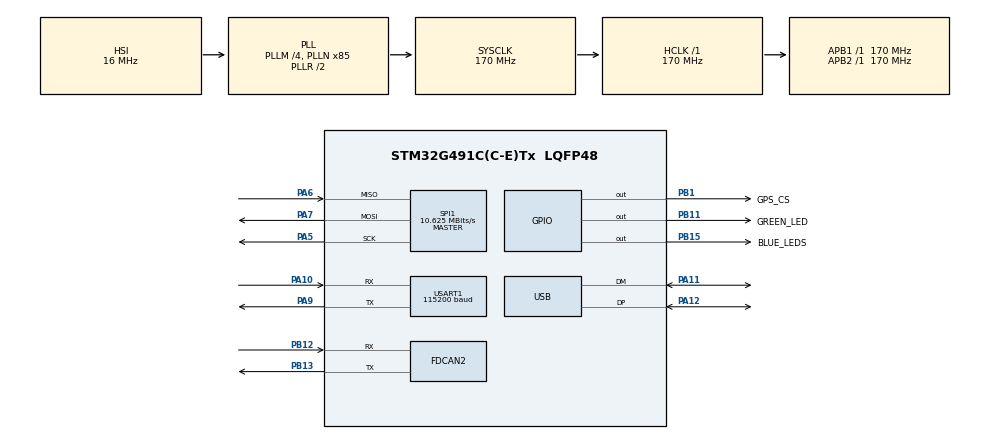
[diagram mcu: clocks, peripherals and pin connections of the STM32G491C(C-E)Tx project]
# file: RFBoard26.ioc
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Dma.Request0=USART1_RX
Dma.Request1=USART1_TX
Dma.USART1_RX.0.Direction=DMA_PERIPH_TO_MEMORY
Dma.USART1_RX.0.EventEnable=DISABLE
Dma.USART1_RX.0.Instance=DMA1_Channel1
Dma.USART1_RX.0.MemDataAlignment=DMA_MDATAALIGN_BYTE
Dma.USART1_RX.0.MemInc=DMA_MINC_ENABLE
Dma.USART1_RX.0.Mode=DMA_CIRCULAR
Dma.USART1_RX.0.PeriphDataAlignment=DMA_PDATAALIGN_BYTE
Dma.USART1_RX.0.PeriphInc=DMA_PINC_DISABLE
Dma.USART1_RX.0.Polarity=HAL_DMAMUX_REQ_GEN_RISING
Dma.USART1_RX.0.Priority=DMA_PRIORITY_HIGH
Dma.USART1_RX.0.RequestNumber=1
Dma.USART1_RX.0.SignalID=NONE
Dma.USART1_RX.0.SyncEnable=DISABLE
Dma.USART1_RX.0.SyncPolarity=HAL_DMAMUX_SYNC_NO_EVENT
Dma.USART1_RX.0.SyncRequestNumber=1
Dma.USART1_RX.0.SyncSignalID=NONE
Dma.USART1_TX.1.Direction=DMA_MEMORY_TO_PERIPH
Dma.USART1_TX.1.EventEnable=DISABLE
Dma.USART1_TX.1.Instance=DMA1_Channel2
Dma.USART1_TX.1.MemDataAlignment=DMA_MDATAALIGN_BYTE
Dma.USART1_TX.1.MemInc=DMA_MINC_ENABLE
Dma.USART1_TX.1.Mode=DMA_NORMAL
Dma.USART1_TX.1.PeriphDataAlignment=DMA_PDATAALIGN_BYTE
Dma.USART1_TX.1.PeriphInc=DMA_PINC_DISABLE
Dma.USART1_TX.1.Polarity=HAL_DMAMUX_REQ_GEN_RISING
Dma.USART1_TX.1.Priority=DMA_PRIORITY_HIGH
Dma.USART1_TX.1.RequestNumber=1
Dma.USART1_TX.1.SignalID=NONE
Dma.USART1_TX.1.SyncEnable=DISABLE
Dma.USART1_TX.1.SyncPolarity=HAL_DMAMUX_SYNC_NO_EVENT
Dma.USART1_TX.1.SyncRequestNumber=1
Dma.USART1_TX.1.SyncSignalID=NONE
FDCAN2.CalculateBaudRateNominal=999999
FDCAN2.CalculateTimeBitNominal=1000
FDCAN2.CalculateTimeQuantumNominal=58.82352941176471
FDCAN2.FrameFormat=FDCAN_FRAME_FD_NO_BRS
FDCAN2.AutoRetransmission=ENABLE
FDCAN2.NominalPrescaler=10
FDCAN2.NominalTimeSeg1=13
FDCAN2.NominalTimeSeg2=3
Mcu.Family=STM32G4
Mcu.Name=STM32G491C(C-E)Tx
Mcu.Package=LQFP48
NVIC.DMA1_Channel1_IRQn=true\:7\:0\:true\:false\:true\:false\:true\:true\:true
NVIC.DMA1_Channel2_IRQn=true\:7\:0\:true\:false\:true\:false\:true\:true\:true
NVIC.FDCAN2_IT0_IRQn=true\:6\:0\:true\:false\:true\:false\:true\:true\:true
NVIC.FDCAN2_IT1_IRQn=true\:6\:0\:true\:false\:true\:false\:true\:true\:true
NVIC.PriorityGroup=NVIC_PRIORITYGROUP_4
NVIC.TIM6_DAC_IRQn=true\:15\:0\:false\:false\:true\:false\:false\:true\:true
NVIC.TimeBase=TIM6_DAC_IRQn
NVIC.TimeBaseIP=TIM6
NVIC.USART1_IRQn=true\:7\:0\:true\:false\:true\:false\:true\:true\:true
NVIC.USB_LP_IRQn=true\:5\:0\:true\:false\:true\:false\:true\:true\:true
PA10.Mode=Asynchronous
PA10.Signal=USART1_RX
PA11.Mode=Device
PA11.Signal=USB_DM
PA12.Mode=Device
PA12.Signal=USB_DP
PA5.Mode=Full_Duplex_Master
PA5.Signal=SPI1_SCK
PA6.Mode=Full_Duplex_Master
PA6.Signal=SPI1_MISO
PA7.Mode=Full_Duplex_Master
PA7.Signal=SPI1_MOSI
PA9.Mode=Asynchronous
PA9.Signal=USART1_TX
PB1.GPIO_Label=GPS_CS
PB1.GPIO_PuPd=GPIO_PULLDOWN
PB1.Signal=GPIO_Output
PB11.GPIO_Label=GREEN_LED
PB11.Signal=GPIO_Output
PB12.Mode=FDCAN_Activate
PB12.Signal=FDCAN2_RX
PB13.Mode=FDCAN_Activate
PB13.Signal=FDCAN2_TX
PB15.GPIO_Label=BLUE_LEDS
PB15.Signal=GPIO_Output
PC14-OSC32_IN.Mode=LSE-External-Oscillator
PC14-OSC32_IN.Signal=RCC_OSC32_IN
PC15-OSC32_OUT.Mode=LSE-External-Oscillator
PC15-OSC32_OUT.Signal=RCC_OSC32_OUT
PF0-OSC_IN.Mode=HSE-External-Oscillator
PF0-OSC_IN.Signal=RCC_OSC_IN
PF1-OSC_OUT.Mode=HSE-External-Oscillator
PF1-OSC_OUT.Signal=RCC_OSC_OUT
ProjectManager.HeapSize=0x200
ProjectManager.StackSize=0x400
ProjectManager.TargetToolchain=CMake
RCC.ADC12Freq_Value=170000000
RCC.ADC345Freq_Value=170000000
RCC.AHBFreq_Value=170000000
RCC.APB1Freq_Value=170000000
RCC.APB1TimFreq_Value=170000000
RCC.APB2Freq_Value=170000000
RCC.APB2TimFreq_Value=170000000
RCC.CortexFreq_Value=170000000
RCC.EXTERNAL_CLOCK_VALUE=12288000
RCC.HCLKFreq_Value=170000000
RCC.HSE_VALUE=8000000
RCC.HSI48_VALUE=48000000
RCC.HSI_VALUE=16000000
RCC.PLLM=RCC_PLLM_DIV4
RCC.PLLN=85
RCC.SYSCLKFreq_VALUE=170000000
RCC.SYSCLKSource=RCC_SYSCLKSOURCE_PLLCLK
RCC.VCOOutputFreq_Value=340000000
SPI1.BaudRatePrescaler=SPI_BAUDRATEPRESCALER_16
SPI1.CalculateBaudRate=10.625 MBits/s
SPI1.DataSize=SPI_DATASIZE_8BIT
SPI1.Direction=SPI_DIRECTION_2LINES
SPI1.Mode=SPI_MODE_MASTER
SPI1.VirtualType=VM_MASTER
STMicroelectronics.X-CUBE-AZRTOS-G4.2.0.0.REG_USBX_DEVICE_CON_CK=1
STMicroelectronics.X-CUBE-AZRTOS-G4.2.0.0.TX_APP_GENERATE_INIT_CODE=true
STMicroelectronics.X-CUBE-AZRTOS-G4.2.0.0.TX_APP_MEM_POOL_SIZE=65240
STMicroelectronics.X-CUBE-AZRTOS-G4.2.0.0.TX_TIMER_TICKS_PER_SECOND=1000
STMicroelectronics.X-CUBE-AZRTOS-G4.2.0.0.ThreadXCcRTOSJjThreadXJjCore=true
STMicroelectronics.X-CUBE-AZRTOS-G4.2.0.0.ThreadXCcRTOSJjThreadXJjPerformanceInfo=true
STMicroelectronics.X-CUBE-AZRTOS-G4.2.0.0.ThreadXCcRTOSJjThreadXJjTraceXOosupport=true
STMicroelectronics.X-CUBE-AZRTOS-G4.2.0.0.USBD_CDCACM_EPINCMD_ADDR=2
STMicroelectronics.X-CUBE-AZRTOS-G4.2.0.0.USBD_MANUFACTURER_STRING=UBSEDS
STMicroelectronics.X-CUBE-AZRTOS-G4.2.0.0.USBD_PRODUCT_STRING=CHUD RF Board
STMicroelectronics.X-CUBE-AZRTOS-G4.2.0.0.USBD_SERIAL_NUMBER=67
STMicroelectronics.X-CUBE-AZRTOS-G4.2.0.0.USBXCcUSBJjUSBXJjCoreSystem=true
STMicroelectronics.X-CUBE-AZRTOS-G4.2.0.0.USBXCcUSBJjUSBXJjUXOoDeviceOoClassOoCDCOoACM=true
STMicroelectronics.X-CUBE-AZRTOS-G4.2.0.0.USBXCcUSBJjUSBXJjUXOoDeviceOoControllers=true
STMicroelectronics.X-CUBE-AZRTOS-G4.2.0.0.USBXCcUSBJjUSBXJjUXOoDeviceOoCoreStack=true
STMicroelectronics.X-CUBE-AZRTOS-G4.2.0.0.USBX_DEVICE_APP_THREAD_Size=2048
STMicroelectronics.X-CUBE-AZRTOS-G4.2.0.0.USBX_DEVICE_SYS_SIZE=8192
STMicroelectronics.X-CUBE-AZRTOS-G4.2.0.0.UX_DEVICE_APP_MEM_POOL_SIZE=10752
STMicroelectronics.X-CUBE-AZRTOS-G4.2.0.0.UX_MAX_SLAVE_CLASS_DRIVER=1
STMicroelectronics.X-CUBE-AZRTOS-G4.2.0.0.UX_SLAVE_REQUEST_DATA_MAX_LENGTH=512
STMicroelectronics.X-CUBE-AZRTOS-G4.2.0.0.UX_THREAD_STACK_SIZE=2048
STMicroelectronics.X-CUBE-AZRTOS-G4.2.0.0_IsAnAzureRtosMw=true
USART1.BaudRate=115200
USART1.FIFOMode=FIFOMODE_ENABLE
USART1.VirtualMode-Asynchronous=VM_ASYNC
VP_STMicroelectronics.X-CUBE-AZRTOS-G4_VS_RTOSJjThreadX_6.2.0_2.0.0.Mode=RTOSJjThreadX
VP_STMicroelectronics.X-CUBE-AZRTOS-G4_VS_USBJjUSBX_6.2.0_2.0.0.Mode=USBJjUSBX
VP_SYS_VS_DBSignals.Mode=DisableDeadBatterySignals
VP_SYS_VS_tim6.Mode=TIM6
board=custom

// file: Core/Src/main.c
#include "board_commissioning.h"
#include "board_recovery_floor.h"
#include "persistent_store.h"
/* USER CODE BEGIN Header */
/**
 ******************************************************************************
 * @file           : main.c
 * @brief          : Main program body
 ******************************************************************************
 * @attention
 *
 * Copyright (c) 2025 STMicroelectronics.
 * All rights reserved.
 *
 * This software is licensed under terms that can be found in the LICENSE file
 * in the root directory of this software component.
 * If no LICENSE file comes with this software, it is provided AS-IS.
 *
 ******************************************************************************
 */
/* USER CODE END Header */
#include "app_threadx.h"
#include "main.h"
#include "board_watchdog.h"

/* USER CODE BEGIN Includes */
#include "stm32g4xx_hal_spi.h"
#if RF_USB_DEBUG_ENABLED
#include "ux_api.h"
#include "ux_system.h"
#include "ux_device_class_cdc_acm.h"
#endif
#include <stdint.h>
#include <stdio.h>
#include "telemetry.h"
#include "can_bus.h"
#include "radio.h"
#include "av_bay_underglow.h"
#include "flight_state_cache.h"
#include "board_recovery_boot.h"

#if RF_USB_DEBUG_ENABLED
extern UX_SLAVE_CLASS_CDC_ACM *cdc_acm;
#endif

#ifndef MIN
#define MIN(a, b) (((a) < (b)) ? (a) : (b))
#endif
/* USER CODE END Includes */

/* USER CODE BEGIN PTD */
static void busy_delay(volatile uint32_t n)
{
  while (n--) { __NOP(); }
}
/* USER CODE END PTD */

FDCAN_HandleTypeDef hfdcan2;

SPI_HandleTypeDef hspi1;

UART_HandleTypeDef huart1;
DMA_HandleTypeDef hdma_usart1_rx;
DMA_HandleTypeDef hdma_usart1_tx;

PCD_HandleTypeDef hpcd_USB_FS;

void SystemClock_Config(void);
static void MX_GPIO_Init(void);
static void MX_DMA_Init(void);
static void MX_FDCAN2_Init(void);
static void MX_USART1_UART_Init(void);
#if RF_USB_DEBUG_ENABLED
static void MX_USB_PCD_Init(void);
#endif
static void MX_SPI1_Init(void);

int main(void)
{

  /* MCU Configuration--------------------------------------------------------*/

  /* Reset of all peripherals, Initializes the Flash interface and the Systick. */
  HAL_Init();

  /* Configure the system clock */
  SystemClock_Config();

  /* Initialize all configured peripherals */
  MX_GPIO_Init();
  MX_DMA_Init();
  MX_FDCAN2_Init();
  MX_USART1_UART_Init();
#if RF_USB_DEBUG_ENABLED
  MX_USB_PCD_Init();
#endif
  MX_SPI1_Init();
  /* USER CODE BEGIN 2 */
  /* Start the radio RX transport; the telemetry thread owns CAN startup. */
  radio_uart_init(&huart1);
  radio_uart_start_rx();   /* after UART is initialized */

  /* Apply persistent local state before ThreadX and SEDSNet synchronization. */
  (void)persistent_store_boot_begin();
  av_bay_underglow_restore();
  /* Establish recovery identity before cached state restore and control tasks. */
  (void)board_recovery_boot_generation();
  (void)board_recovery_floor_prime_boot(); /* Cached failure stays queryable/inhibited. */
  board_commissioning_probe_boot();
  flight_state_cache_restore();

  /* USER CODE END 2 */

  board_watchdog_start();
  MX_ThreadX_Init();

  /* We should never get here as control is now taken by the scheduler */

  /* Infinite loop */
  while (1) {

  }
}

void SystemClock_Config(void)
{
  RCC_OscInitTypeDef RCC_OscInitStruct = {0};
  RCC_ClkInitTypeDef RCC_ClkInitStruct = {0};

  /** Configure the main internal regulator output voltage
  */
  HAL_PWREx_ControlVoltageScaling(PWR_REGULATOR_VOLTAGE_SCALE1_BOOST);

  /** Initializes the RCC Oscillators according to the specified parameters
  * in the RCC_OscInitTypeDef structure.
  */
  RCC_OscInitStruct.OscillatorType = RCC_OSCILLATORTYPE_HSI|RCC_OSCILLATORTYPE_HSI48;
  RCC_OscInitStruct.HSIState = RCC_HSI_ON;
  RCC_OscInitStruct.HSICalibrationValue = RCC_HSICALIBRATION_DEFAULT;
  RCC_OscInitStruct.HSI48State = RCC_HSI48_ON;
  RCC_OscInitStruct.PLL.PLLState = RCC_PLL_ON;
  RCC_OscInitStruct.PLL.PLLSource = RCC_PLLSOURCE_HSI;
  RCC_OscInitStruct.PLL.PLLM = RCC_PLLM_DIV4;
  RCC_OscInitStruct.PLL.PLLN = 85;
  RCC_OscInitStruct.PLL.PLLP = RCC_PLLP_DIV2;
  RCC_OscInitStruct.PLL.PLLQ = RCC_PLLQ_DIV2;
  RCC_OscInitStruct.PLL.PLLR = RCC_PLLR_DIV2;
  if (HAL_RCC_OscConfig(&RCC_OscInitStruct) != HAL_OK)
  {
    Error_Handler();
  }

  /** Initializes the CPU, AHB and APB buses clocks
  */
  RCC_ClkInitStruct.ClockType = RCC_CLOCKTYPE_HCLK|RCC_CLOCKTYPE_SYSCLK
                              |RCC_CLOCKTYPE_PCLK1|RCC_CLOCKTYPE_PCLK2;
  RCC_ClkInitStruct.SYSCLKSource = RCC_SYSCLKSOURCE_PLLCLK;
  RCC_ClkInitStruct.AHBCLKDivider = RCC_SYSCLK_DIV1;
  RCC_ClkInitStruct.APB1CLKDivider = RCC_HCLK_DIV1;
  RCC_ClkInitStruct.APB2CLKDivider = RCC_HCLK_DIV1;

  if (HAL_RCC_ClockConfig(&RCC_ClkInitStruct, FLASH_LATENCY_4) != HAL_OK)
  {
    Error_Handler();
  }
}

static void MX_FDCAN2_Init(void)
{

  hfdcan2.Instance = FDCAN2;
  hfdcan2.Init.ClockDivider = FDCAN_CLOCK_DIV1;
  hfdcan2.Init.FrameFormat = FDCAN_FRAME_FD_NO_BRS;
  hfdcan2.Init.Mode = FDCAN_MODE_NORMAL;
  /* FDCAN retries physical arbitration/ACK failures; SEDSNet supplies
   * end-to-end reliability without blocking this non-blocking TX path. */
  hfdcan2.Init.AutoRetransmission = ENABLE;
  hfdcan2.Init.TransmitPause = DISABLE;
  hfdcan2.Init.ProtocolException = DISABLE;
  hfdcan2.Init.NominalPrescaler = 10;
  hfdcan2.Init.NominalSyncJumpWidth = 1;
  hfdcan2.Init.NominalTimeSeg1 = 13;
  hfdcan2.Init.NominalTimeSeg2 = 3;
  hfdcan2.Init.DataPrescaler = 1;
  hfdcan2.Init.DataSyncJumpWidth = 1;
  hfdcan2.Init.DataTimeSeg1 = 1;
  hfdcan2.Init.DataTimeSeg2 = 1;
  hfdcan2.Init.StdFiltersNbr = 0;
  hfdcan2.Init.ExtFiltersNbr = 0;
  hfdcan2.Init.TxFifoQueueMode = FDCAN_TX_FIFO_OPERATION;
  if (HAL_FDCAN_Init(&hfdcan2) != HAL_OK)
  {
    Error_Handler();
  }

}

static void MX_SPI1_Init(void)
{

  /* SPI1 parameter configuration*/
  hspi1.Instance = SPI1;
  hspi1.Init.Mode = SPI_MODE_MASTER;
  hspi1.Init.Direction = SPI_DIRECTION_2LINES;
  hspi1.Init.DataSize = SPI_DATASIZE_8BIT;
  hspi1.Init.CLKPolarity = SPI_POLARITY_LOW;
  hspi1.Init.CLKPhase = SPI_PHASE_1EDGE;
  hspi1.Init.NSS = SPI_NSS_SOFT;
  hspi1.Init.BaudRatePrescaler = SPI_BAUDRATEPRESCALER_16;
  hspi1.Init.FirstBit = SPI_FIRSTBIT_MSB;
  hspi1.Init.TIMode = SPI_TIMODE_DISABLE;
  hspi1.Init.CRCCalculation = SPI_CRCCALCULATION_DISABLE;
  hspi1.Init.CRCPolynomial = 7;
  hspi1.Init.CRCLength = SPI_CRC_LENGTH_DATASIZE;
  hspi1.Init.NSSPMode = SPI_NSS_PULSE_ENABLE;
  if (HAL_SPI_Init(&hspi1) != HAL_OK)
  {
    Error_Handler();
  }

}

static void MX_USART1_UART_Init(void)
{

  huart1.Instance = USART1;
  /* The RFD900x transparent serial link and GroundStation both use 115200
   * baud. Keep the simulator on the same production setting. */
  huart1.Init.BaudRate = RADIO_BAUD_RATE;
  huart1.Init.WordLength = UART_WORDLENGTH_8B;
  huart1.Init.StopBits = UART_STOPBITS_1;
  huart1.Init.Parity = UART_PARITY_NONE;
  huart1.Init.Mode = UART_MODE_TX_RX;
  huart1.Init.HwFlowCtl = UART_HWCONTROL_NONE;
  huart1.Init.OverSampling = UART_OVERSAMPLING_16;
  huart1.Init.OneBitSampling = UART_ONE_BIT_SAMPLE_DISABLE;
  huart1.Init.ClockPrescaler = UART_PRESCALER_DIV1;
  huart1.AdvancedInit.AdvFeatureInit = UART_ADVFEATURE_NO_INIT;
  if (HAL_UART_Init(&huart1) != HAL_OK)
  {
    Error_Handler();
  }
  if (HAL_UARTEx_SetTxFifoThreshold(&huart1, UART_TXFIFO_THRESHOLD_1_8) != HAL_OK)
  {
    Error_Handler();
  }
  if (HAL_UARTEx_SetRxFifoThreshold(&huart1, UART_RXFIFO_THRESHOLD_1_8) != HAL_OK)
  {
    Error_Handler();
  }
  if (HAL_UARTEx_EnableFifoMode(&huart1) != HAL_OK)
  {
    Error_Handler();
  }

}

#if RF_USB_DEBUG_ENABLED
static void MX_USB_PCD_Init(void)
{

  hpcd_USB_FS.Instance = USB;
  hpcd_USB_FS.Init.dev_endpoints = 8;
  hpcd_USB_FS.Init.speed = PCD_SPEED_FULL;
  hpcd_USB_FS.Init.phy_itface = PCD_PHY_EMBEDDED;
  hpcd_USB_FS.Init.Sof_enable = DISABLE;
  hpcd_USB_FS.Init.low_power_enable = DISABLE;
  hpcd_USB_FS.Init.lpm_enable = DISABLE;
  hpcd_USB_FS.Init.battery_charging_enable = DISABLE;
  if (HAL_PCD_Init(&hpcd_USB_FS) != HAL_OK)
  {
    Error_Handler();
  }

}
#endif /* RF_USB_DEBUG_ENABLED */

static void MX_DMA_Init(void)
{

  /* DMA controller clock enable */
  __HAL_RCC_DMAMUX1_CLK_ENABLE();
  __HAL_RCC_DMA1_CLK_ENABLE();

  /* DMA interrupt init */
  /* DMA1_Channel1_IRQn interrupt configuration */
  HAL_NVIC_SetPriority(DMA1_Channel1_IRQn, 7, 0);
  HAL_NVIC_EnableIRQ(DMA1_Channel1_IRQn);
  /* DMA1_Channel2_IRQn interrupt configuration */
  HAL_NVIC_SetPriority(DMA1_Channel2_IRQn, 7, 0);
  HAL_NVIC_EnableIRQ(DMA1_Channel2_IRQn);

}

static void MX_GPIO_Init(void)
{
  GPIO_InitTypeDef GPIO_InitStruct = {0};

  /* GPIO Ports Clock Enable */
  __HAL_RCC_GPIOC_CLK_ENABLE();
  __HAL_RCC_GPIOF_CLK_ENABLE();
  __HAL_RCC_GPIOA_CLK_ENABLE();
  __HAL_RCC_GPIOB_CLK_ENABLE();

  /*Configure GPIO pin Output Level */
  HAL_GPIO_WritePin(GPIOB, GPS_CS_Pin|GREEN_LED_Pin|BLUE_LEDS_Pin, GPIO_PIN_RESET);

  /*Configure GPIO pin : GPS_CS_Pin */
  GPIO_InitStruct.Pin = GPS_CS_Pin;
  GPIO_InitStruct.Mode = GPIO_MODE_OUTPUT_PP;
  GPIO_InitStruct.Pull = GPIO_PULLDOWN;
  GPIO_InitStruct.Speed = GPIO_SPEED_FREQ_LOW;
  HAL_GPIO_Init(GPS_CS_GPIO_Port, &GPIO_InitStruct);

  /*Configure GPIO pins : GREEN_LED_Pin BLUE_LEDS_Pin */
  GPIO_InitStruct.Pin = GREEN_LED_Pin|BLUE_LEDS_Pin;
  GPIO_InitStruct.Mode = GPIO_MODE_OUTPUT_PP;
  GPIO_InitStruct.Pull = GPIO_NOPULL;
  GPIO_InitStruct.Speed = GPIO_SPEED_FREQ_LOW;
  HAL_GPIO_Init(GPIOB, &GPIO_InitStruct);

}

/* USER CODE BEGIN 4 */

#if RF_USB_DEBUG_ENABLED

static inline int cdc_in_isr(void)
{
  return (__get_IPSR() != 0U);
}

/* ------------ Mutex for multi-thread serialization ------------ */

static TX_MUTEX cdc_mutex;
static volatile UINT cdc_mutex_ready = 0U;

/*
 * NOTE:
 * Call this from a ThreadX thread AFTER USBX device init (MX_USBX_Device_Init)
 * has run. It's OK to call multiple times if you guard creation elsewhere,
 * but simplest is call once from your "app" thread entry.
 */
void cdc_printf_init(void)
{
  if (cdc_mutex_ready == 0U)
  {
    if (tx_mutex_create(&cdc_mutex, "cdc_tx_mutex", TX_INHERIT) == TX_SUCCESS)
    {
      cdc_mutex_ready = 1U;
    }
  }
}

extern volatile ULONG _tx_thread_system_state;

static inline int tx_is_running(void)
{
  return (__get_IPSR() == 0U) && (_tx_thread_system_state == 0U);
}

static UINT cdc_lock(void)
{
  if (!tx_is_running() || cdc_in_isr() || cdc_mutex_ready == 0U)
    return TX_NOT_AVAILABLE;
  return tx_mutex_get(&cdc_mutex, TX_NO_WAIT);
}

static void cdc_unlock(void)
{
  if (!tx_is_running() || cdc_in_isr() || cdc_mutex_ready == 0U) return;
  (void)tx_mutex_put(&cdc_mutex);
}

/* ------------ USB ready helper ------------ */

static inline UINT usb_cdc_ready(void)
{
  if (cdc_acm == UX_NULL || _ux_system_slave == UX_NULL)
  {
    return 0U;
  }

  if (_ux_system_slave->ux_system_slave_device.ux_slave_device_state != UX_DEVICE_CONFIGURED)
  {
    return 0U;
  }

  return (cdc_acm->ux_slave_class_cdc_acm_data_dtr_state == UX_TRUE) ? 1U : 0U;
}

/* ------------ Bounded, drop-on-trouble CDC write ------------ */

static void cdc_write_raw(const uint8_t *buf, uint16_t len)
{
  if (!buf || !len || cdc_in_isr()) return;
  if (!usb_cdc_ready()) return;

  if (cdc_lock() != TX_SUCCESS)
  {
    return;
  }

  /* Keep it simple: one synchronous write. If host isn't ready, drop. */
  ULONG actual = 0;
  UINT st = ux_device_class_cdc_acm_write(cdc_acm, (UCHAR *)buf, (ULONG)len, &actual);
  if (st != UX_SUCCESS || actual == 0)
  {
    /* Non-fatal: drop the packet if host not ready or write fails. Do not
       call Error_Handler here because write failures are expected until the
       host opens the port. */
    cdc_unlock();
    return;
  }
  (void)actual;

  cdc_unlock();
}

/* ---------- printf redirection ---------- */

#ifdef __GNUC__
int _write(int file, char *ptr, int len)
{
  (void)file;
  if (len <= 0) return 0;

  /* If USB not configured, pretend we consumed everything (best-effort debug) */
  if (!usb_cdc_ready()) return len;

  uint8_t buf[128];
  int i = 0;
  static uint8_t last_was_cr = 0;

  while (i < len)
  {
    uint16_t w = 0;

    while (i < len && w < sizeof(buf))
    {
      uint8_t c = (uint8_t)ptr[i++];

      if (c == '\n')
      {
        if (!last_was_cr)
        {
          if (w > (uint16_t)(sizeof(buf) - 2))
          {
            i--;
            break;
          }
          buf[w++] = '\r';
        }

        if (w >= sizeof(buf))
        {
          i--;
          break;
        }
        buf[w++] = '\n';
        last_was_cr = 0;
      }
      else
      {
        if (w >= sizeof(buf))
        {
          i--;
          break;
        }
        buf[w++] = c;
        last_was_cr = (c == '\r');
      }
    }

    if (w > 0)
    {
      cdc_write_raw(buf, w);
    }
  }

  return len;
}
#else
int fputc(int ch, FILE *f)
{
  (void)f;

  static uint8_t last_was_cr = 0;
  uint8_t buf[2];
  uint16_t w = 0;

  if (!usb_cdc_ready()) return ch;

  if (ch == '\n')
  {
    if (!last_was_cr) buf[w++] = '\r';
    buf[w++] = '\n';
    last_was_cr = 0;
  }
  else
  {
    buf[w++] = (uint8_t)ch;
    last_was_cr = (ch == '\r');
  }

  if (w > 0) cdc_write_raw(buf, w);
  return ch;
}
#endif

#else

void cdc_printf_init(void)
{
}

#ifdef __GNUC__
int _write(int file, char *ptr, int len)
{
  (void)file;
  (void)ptr;
  return len;
}
#endif

#endif /* RF_USB_DEBUG_ENABLED */

/* USER CODE END 4 */

void HAL_TIM_PeriodElapsedCallback(TIM_HandleTypeDef *htim)
{
  if (htim->Instance == TIM6)
  {
    HAL_IncTick();
  }
}

void Error_Handler(void)
{
  /* USER CODE BEGIN Error_Handler_Debug */
  /* User can add his own implementation to report the HAL error return state */
  __disable_irq();
  while (1) {
    HAL_GPIO_TogglePin(GREEN_LED_GPIO_Port, GREEN_LED_Pin);
    busy_delay(100000);
  }
  /* USER CODE END Error_Handler_Debug */
}
#ifdef USE_FULL_ASSERT
/**
  * @brief  Reports the name of the source file and the source line number
  *         where the assert_param error has occurred.
  * @param  file: pointer to the source file name
  * @param  line: assert_param error line source number
  * @retval None
  */
void assert_failed(uint8_t *file, uint32_t line)
{
  /* USER CODE BEGIN 6 */
  /* User can add his own implementation to report the file name and line
     number, ex: printf("Wrong parameters value: file %s on line %d\r\n", file,
     line) */
  /* USER CODE END 6 */
}
#endif /* USE_FULL_ASSERT */
